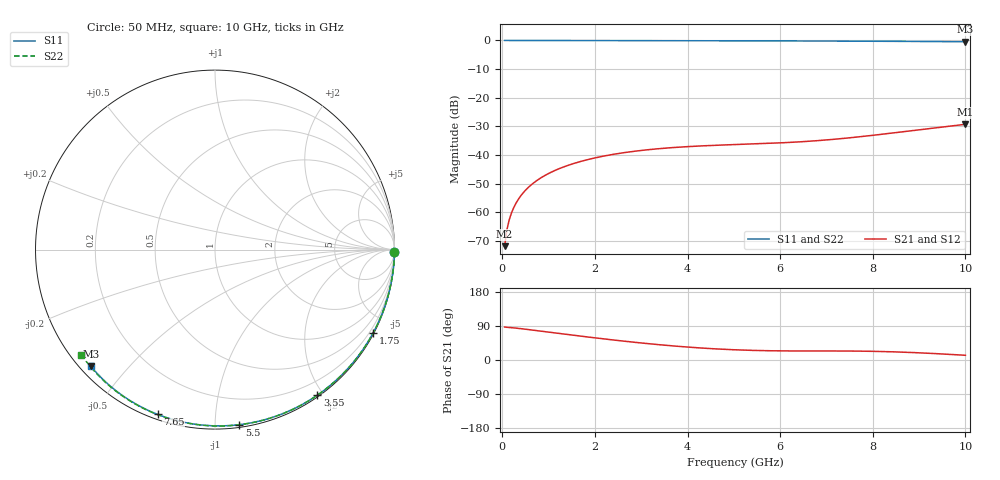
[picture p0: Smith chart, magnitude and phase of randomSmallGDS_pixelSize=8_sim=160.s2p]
! freq	dB(S11)	phase(S11)	dB(S12)	phase(S12)
!  dB(S21)	phase(S21)	dB(S22)	phase(S22)
!S-par simulation data
#  GHz  S  DB  R 50
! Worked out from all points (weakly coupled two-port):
!   200 points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, 50 MHz to 10 GHz, reference 50 ohm
!   highest |S21| = -29.28 dB at 10 GHz (marker M1); lowest = -71.8 dB at 50 MHz (marker M2)
!   lowest |S11| = -0.5 dB at 10 GHz (marker M3), VSWR 38.34, Z = 1.51 - j19.8 ohm
!   |S11| at or under -10 dB: nowhere
!   |S22| runs from -0.5 to 0.0 dB; largest |S21 - S12| = 0
!   S11 on the Smith chart (normalised r, x): 50 MHz: open; 1.75 GHz: 0.04, -4.04; 3.55 GHz: 0.02, -1.92; 5.5 GHz: 0.02, -1.15; 7.65 GHz: 0.02, -0.71; 10 GHz: 0.03, -0.40
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0.05  -0.00 -0.8  -71.82 87.0  -71.82 87.0  -0.00 -0.8
0.1  -0.00 -1.6  -66.03 86.2  -66.03 86.2  -0.00 -1.7
0.15  -0.00 -2.4  -62.62 85.8  -62.62 85.8  -0.00 -2.5
0.2  -0.00 -3.2  -60.17 85.3  -60.17 85.3  -0.00 -3.4
0.25  -0.00 -4.0  -58.26 84.8  -58.26 84.8  -0.00 -4.2
0.35  -0.00 -5.6  -55.37 83.4  -55.37 83.4  -0.00 -5.9
0.5  -0.01 -8.1  -52.31 81.3  -52.31 81.3  -0.01 -8.4
0.7  -0.01 -11.3  -49.44 78.2  -49.44 78.2  -0.01 -11.7
1  -0.02 -16.0  -46.45 73.6  -46.45 73.6  -0.02 -16.6
1.35  -0.03 -21.5  -44.00 68.2  -44.00 68.2  -0.03 -22.3
1.75  -0.04 -27.8  -41.99 62.1  -41.99 62.1  -0.04 -28.8
2.5  -0.05 -39.3  -39.49 51.4  -39.49 51.4  -0.05 -40.7
3.4  -0.07 -52.7  -37.76 40.2  -37.76 40.2  -0.07 -54.6
3.55  -0.07 -54.9  -37.56 38.6  -37.56 38.6  -0.08 -56.9
4.3  -0.09 -65.7  -36.82 31.6  -36.82 31.6  -0.10 -68.0
5.05  -0.12 -76.0  -36.34 26.8  -36.34 26.8  -0.12 -78.7
5.5  -0.13 -82.0  -36.08 25.1  -36.08 25.1  -0.14 -84.9
6.7  -0.19 -97.5  -35.11 23.8  -35.11 23.8  -0.19 -100.9
7.65  -0.24 -109.2  -33.74 23.5  -33.74 23.5  -0.25 -113.0
8.35  -0.30 -117.6  -32.46 21.9  -32.46 21.9  -0.31 -121.7
9.2  -0.37 -127.6  -30.81 17.8  -30.81 17.8  -0.38 -132.1
10  -0.45 -136.8  -29.28 12.5  -29.28 12.5  -0.47 -141.7
